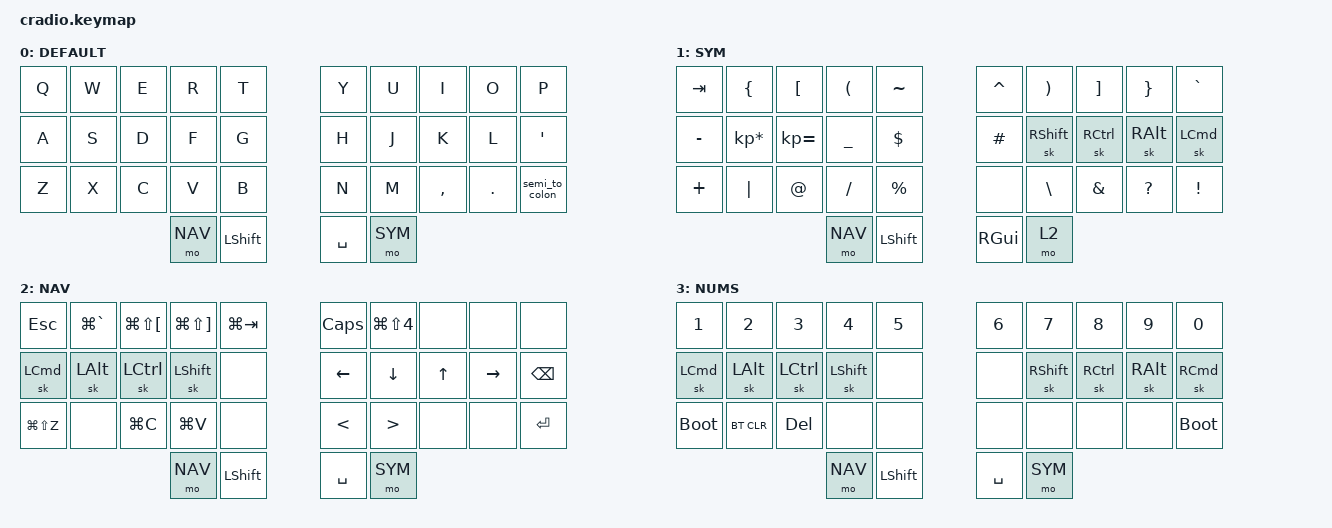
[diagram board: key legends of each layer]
/*
 * Copyright (c) 2020 The ZMK Contributors
 *
 * SPDX-License-Identifier: MIT
 */

#include <behaviors.dtsi>
#include <dt-bindings/zmk/keys.h>
#include <dt-bindings/zmk/bt.h>


#define DEFAULT  0
#define SYM      1
#define NAV      2
#define NUMS     3


/* KEY POSITIONS
    ╭────────────────────╮ ╭────────────────────╮
    │  0   1   2   3   4 │ │  5   6   7   8   9 │
    │ 10  11  12  13  14 │ │ 15  16  17  18  19 │
    │ 20  21  22  23  24 │ │ 25  26  27  28  29 │
    ╰───────────╮ 30  31 │ │ 32  33 ╭───────────╯
                ╰────────╯ ╰────────╯
*/


/ { 

    conditional_layers {
        compatible = "zmk,conditional-layers";
        tri_layer {
            if-layers = <1 2>;
            then-layer = <3>;
        };
    };

    behaviors {
        semi_to_colon: tap_dance_0 {
            compatible = "zmk,behavior-tap-dance";
            label = "SEMI_TO_COLON";
            #binding-cells = <0>;
            tapping-term-ms = <200>;
            bindings = <&kp SEMI>, <&kp COLON>;
        };
    };

    combos {
        compatible = "zmk,combos";
        combo_esc {
            timeout-ms = <50>;
            key-positions = <0 1>;
            bindings = <&kp ESC>;
        };
        
         combo_enter {
            timeout-ms = <25>;
            key-positions = <2 3>;
            bindings = <&kp ENTER>;
        };
        
        combo_ralt {
            timeout-ms = <50>;
            key-positions = <17 16>;
            bindings = <&kp RALT>;
        };
        
        combo_lalt {
            timeout-ms = <50>;
            key-positions = <11 12>;
            bindings = <&kp LALT>;
        };

        combo_lalt {
            timeout-ms = <50>;
            key-positions = <5 15>;
            bindings = <&kp BKSP>;
        };
    };

        keymap {

        compatible = "zmk,keymap";
                
        default_layer {
            label = "DEFAULT";
            bindings = <
            &kp Q &kp W &kp E &kp R &kp T 						&kp Y &kp U  &kp I    &kp O   &kp P 
            &kp A &kp S &kp D &kp F &kp G 			            &kp H &kp J  &kp K    &kp L   &kp QUOT
            &kp Z &kp X &kp C &kp V &kp B				        &kp N &kp M  &kp CMMA &kp DOT &semi_to_colon
                            &mo NAV &kp LSHFT   				&kp SPC &mo SYM
            >;
         };

        nav_layer {
            label = "SYM";
            bindings = <
            &kp TAB    &kp LBRC            &kp LBKT          &kp LPAR       &kp TILDE	    &kp CARET     &kp RPAR      &kp RBKT         &kp RBRC          &kp GRAVE 
            &kp MINUS  &kp KP_ASTERISK     &kp KP_EQUAL      &kp UNDER      &kp DOLLAR 	    &kp POUND     &sk RSHFT     &sk RCTRL        &sk RALT          &sk LCMD
            &kp PLUS   &kp PIPE 	       &kp AT            &kp SLASH      &kp PERCENT     &none         &kp BSLH      &kp AMPERSAND    &kp QMARK         &kp EXCLAMATION
                                                                      &mo NAV  &kp LSHIFT     &kp RGUI &mo 2 
            >;
		};
		
		right_layer {
            label = "NAV";
            bindings = <
            &kp ESC   &kp LG(GRAVE)  &kp LG(LS(LBKT))  &kp LG(LS(RBKT)) &kp LG(TAB)  		        &kp CAPS    &kp LG(LS(NUM_4))     &none     &none      &none
            &sk LCMD  &sk LALT       &sk LCTRL         &sk LSHFT        &none 			            &kp LEFT   &kp DOWN  &kp UP  &kp RIGHT  &kp BKSP
            &kp LG(LS(Z))     &none      &kp LG(C)             &kp LG(V)             &none    		            &kp LT    &kp GT     &none     &none      &kp ENTER
                                                           &mo NAV &kp LSHIFT  	                    &kp SPC  &mo SYM 
            >;
		};	
		
		tri_layer {
            label = "NUMS";
            bindings = <
            &kp NUM_1  &kp NUM_2    &kp NUM_3    &kp NUM_4    &kp NUM_5 			&kp NUM_6 &kp NUM_7 &kp NUM_8 &kp NUM_9 &kp NUM_0
            &sk LCMD   &sk LALT     &sk LCTRL    &sk LSHFT    &none 			    &none     &sk RSHFT &sk RCTRL &sk RALT  &sk RCMD
            &bootloader      &bt BT_CLR        &kp DEL        &none        &none                 &none     &none     &none     &none     &bootloader
                                                      &mo NAV &kp LSHIFT  	        &kp SPC  &mo SYM 
            >;
		};	
	};
};
